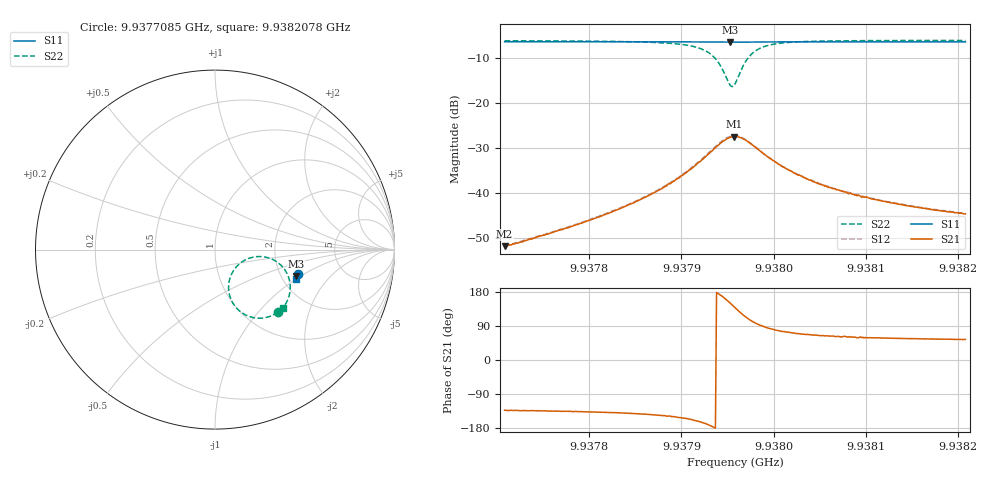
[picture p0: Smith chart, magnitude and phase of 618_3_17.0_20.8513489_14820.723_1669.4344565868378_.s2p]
#  HZ  S  RI  R  50.00
! Rohde & Schwarz Vector Network Analyzer
! Rohde-Schwarz,ZNB20-2Port,1311601062101988,3.16
! Created: UTC 3/20/2024, 11:19:49 PM
! freq[Hz]  re:S11  im:S11  re:S21  im:S21  re:S12  im:S12  re:S22  im:S22
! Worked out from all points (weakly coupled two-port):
!   401 points, 9.9377085 GHz to 9.9382078 GHz, reference 50 ohm
!   highest |S21| = -27.41 dB at 9.9379569 GHz (marker M1); lowest = -51.7 dB at 9.9377085 GHz (marker M2)
!   lowest |S11| = -6.5 dB at 9.9379531 GHz (marker M3), VSWR 2.81, Z = 120 - j46.2 ohm
!   |S11| at or under -10 dB: nowhere
!   |S22| runs from -16.3 to -6.1 dB; largest |S21 - S12| = 0.002
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9.93770848e9  0.4626 -0.1351  -0.00175 -0.0019  -0.00176 -0.0019  0.3509 -0.3477
9.93779211e9  0.4604 -0.1408  -0.00336 -0.00323  -0.00348 -0.00323  0.3319 -0.3601
9.93784079e9  0.4589 -0.1441  -0.0056 -0.00464  -0.00577 -0.00464  0.3099 -0.3705
9.93787574e9  0.4576 -0.1468  -0.00895 -0.0061  -0.00924 -0.00608  0.279 -0.3793
9.93789571e9  0.4568 -0.1482  -0.0127 -0.00701  -0.013 -0.00683  0.2474 -0.3821
9.93790945e9  0.456 -0.1492  -0.0168 -0.00728  -0.0173 -0.00709  0.2131 -0.379
9.93792817e9  0.4544 -0.1503  -0.0262 -0.00466  -0.027 -0.00421  0.1401 -0.3446
9.9379394e9  0.4529 -0.1504  -0.0337 0.00227  -0.0346 0.00327  0.0888 -0.2766
9.93794689e9  0.4521 -0.15  -0.0369 0.0114  -0.0379 0.013  0.076 -0.1973
9.93795313e9  0.4518 -0.149  -0.0361 0.0212  -0.0362 0.0229  0.1008 -0.1207
9.93795688e9  0.4521 -0.1487  -0.0331 0.0268  -0.0328 0.0286  0.1342 -0.0809
9.93795813e9  0.4521 -0.1485  -0.0318 0.0284  -0.0312 0.0303  0.148 -0.0701
9.93796437e9  0.4528 -0.1481  -0.0233 0.0343  -0.0224 0.0357  0.2252 -0.0398
9.93797061e9  0.4537 -0.148  -0.0144 0.0356  -0.0132 0.0365  0.2977 -0.0459
9.93797685e9  0.4543 -0.1485  -0.00709 0.0337  -0.00605 0.0341  0.3503 -0.0723
9.93798309e9  0.4549 -0.1491  -0.00216 0.0307  -0.00119 0.031  0.383 -0.1046
9.93799432e9  0.4553 -0.1504  0.00267 0.0249  0.00327 0.0251  0.4109 -0.1566
9.93800806e9  0.4552 -0.1518  0.00474 0.0195  0.00522 0.0197  0.4195 -0.2021
9.93804176e9  0.4547 -0.1548  0.00555 0.0124  0.00577 0.0125  0.4123 -0.2606
9.93807047e9  0.4539 -0.157  0.00504 0.00961  0.00529 0.00948  0.4031 -0.2842
9.93812539e9  0.4525 -0.1609  0.00426 0.00667  0.00442 0.00668  0.3897 -0.3081
9.93820777e9  0.4503 -0.1664  0.00345 0.00479  0.00358 0.00478  0.3767 -0.3255
